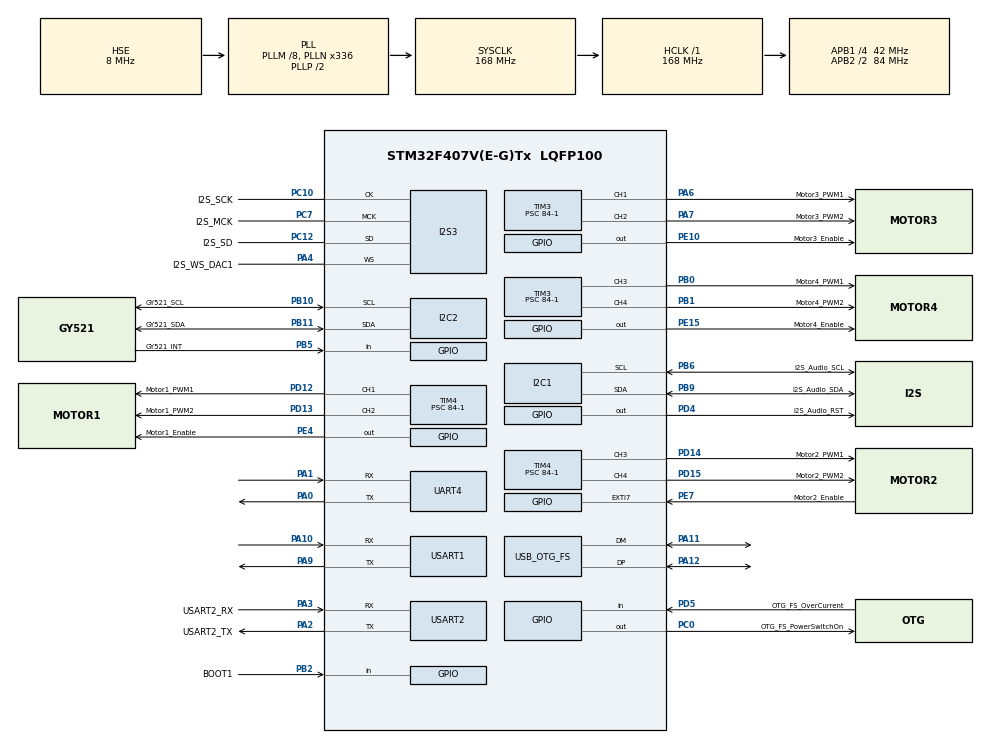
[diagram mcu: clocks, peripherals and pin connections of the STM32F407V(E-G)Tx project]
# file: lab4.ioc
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I2C2.I2C_Mode=I2C_Fast
I2S3.AudioFreq-Half_Duplex_Master=I2S_AUDIOFREQ_96K
I2S3.ErrorAudioFreq=-2.34 %
I2S3.ErrorAudioFreq-Half_Duplex_Master=0.8 %
I2S3.FullDuplexMode=I2S_FULLDUPLEXMODE_DISABLE
I2S3.Instance=SPI$Index
I2S3.RealAudioFreq=93.75 KHz
I2S3.RealAudioFreq-Half_Duplex_Master=96.774 KHz
I2S3.VirtualMode=I2S_MODE_MASTER
Mcu.Family=STM32F4
Mcu.Name=STM32F407V(E-G)Tx
Mcu.Package=LQFP100
NVIC.OTG_FS_IRQn=true\:0\:0\:false\:false\:true\:false\:true\:true
NVIC.PriorityGroup=NVIC_PRIORITYGROUP_0
PA0-WKUP.Mode=Asynchronous
PA0-WKUP.Signal=UART4_TX
PA1.Mode=Asynchronous
PA1.Signal=UART4_RX
PA10.Mode=Asynchronous
PA10.Signal=USART1_RX
PA11.Mode=Device_Only
PA11.Signal=USB_OTG_FS_DM
PA12.Mode=Device_Only
PA12.Signal=USB_OTG_FS_DP
PA13.GPIO_Label=SWDIO
PA13.Mode=Serial_Wire
PA13.Signal=SYS_JTMS-SWDIO
PA14.GPIO_Label=SWCLK
PA14.Mode=Serial_Wire
PA14.Signal=SYS_JTCK-SWCLK
PA2.GPIO_Label=USART2_TX
PA2.Mode=Asynchronous
PA2.Signal=USART2_TX
PA3.GPIO_Label=USART2_RX
PA3.Mode=Asynchronous
PA3.Signal=USART2_RX
PA4.GPIO_Label=I2S_WS_DAC1
PA4.GPIO_Mode=GPIO_MODE_AF_PP
PA4.GPIO_PuPd=GPIO_NOPULL
PA4.GPIO_Speed=GPIO_SPEED_FREQ_LOW
PA4.Mode=Half_Duplex_Master
PA4.Signal=I2S3_WS
PA6.GPIO_Label=Motor3_PWM1
PA6.Signal=S_TIM3_CH1
PA7.GPIO_Label=Motor3_PWM2
PA7.Signal=S_TIM3_CH2
PA9.Mode=Asynchronous
PA9.Signal=USART1_TX
PB0.GPIO_Label=Motor4_PWM1
PB0.Signal=S_TIM3_CH3
PB1.GPIO_Label=Motor4_PWM2
PB1.Signal=S_TIM3_CH4
PB10.GPIO_Label=GY521_SCL
PB10.Mode=I2C
PB10.Signal=I2C2_SCL
PB11.GPIO_Label=GY521_SDA
PB11.Mode=I2C
PB11.Signal=I2C2_SDA
PB2.GPIO_Label=BOOT1
PB2.GPIO_Mode=GPIO_MODE_INPUT
PB2.GPIO_PuPd=GPIO_NOPULL
PB2.Signal=GPIO_Input
PB5.GPIO_Label=GY521_INT
PB5.Signal=GPIO_Input
PB6.GPIO_Label=I2S_Audio_SCL
PB6.GPIO_Mode=GPIO_MODE_AF_OD
PB6.GPIO_Pu=GPIO_PULLUP
PB6.GPIO_PuPd=GPIO_NOPULL
PB6.GPIO_Speed=GPIO_SPEED_FREQ_LOW
PB6.Mode=I2C
PB6.Signal=I2C1_SCL
PB9.GPIO_Label=I2S_Audio_SDA
PB9.GPIO_Mode=GPIO_MODE_AF_OD
PB9.GPIO_Pu=GPIO_PULLUP
PB9.GPIO_PuPd=GPIO_NOPULL
PB9.GPIO_Speed=GPIO_SPEED_FREQ_LOW
PB9.Mode=I2C
PB9.Signal=I2C1_SDA
PC0.GPIO_Label=OTG_FS_PowerSwitchOn
PC0.GPIO_PuPd=GPIO_NOPULL
PC0.GPIO_Speed=GPIO_SPEED_FREQ_LOW
PC0.PinState=GPIO_PIN_SET
PC0.Signal=GPIO_Output
PC10.GPIO_Label=I2S_SCK
PC10.GPIO_Mode=GPIO_MODE_AF_PP
PC10.GPIO_PuPd=GPIO_NOPULL
PC10.GPIO_Speed=GPIO_SPEED_FREQ_LOW
PC10.Mode=Half_Duplex_Master
PC10.Signal=I2S3_CK
PC12.GPIO_Label=I2S_SD
PC12.GPIO_Mode=GPIO_MODE_AF_PP
PC12.GPIO_PuPd=GPIO_NOPULL
PC12.GPIO_Speed=GPIO_SPEED_FREQ_LOW
PC12.Mode=Half_Duplex_Master
PC12.Signal=I2S3_SD
PC14-OSC32_IN.GPIO_Label=PC14-OSC32_IN
PC14-OSC32_IN.Mode=LSE-External-Oscillator
PC14-OSC32_IN.Signal=RCC_OSC32_IN
PC15-OSC32_OUT.GPIO_Label=PC15-OSC32_OUT
PC15-OSC32_OUT.Mode=LSE-External-Oscillator
PC15-OSC32_OUT.Signal=RCC_OSC32_OUT
PC7.GPIO_Label=I2S_MCK
PC7.GPIO_Mode=GPIO_MODE_AF_PP
PC7.GPIO_PuPd=GPIO_NOPULL
PC7.GPIO_Speed=GPIO_SPEED_FREQ_LOW
PC7.Mode=Master_Clock_Activated
PC7.Signal=I2S3_MCK
PD12.GPIO_Label=Motor1_PWM1
PD12.Signal=S_TIM4_CH1
PD13.GPIO_Label=Motor1_PWM2
PD13.Signal=S_TIM4_CH2
PD14.GPIO_Label=Motor2_PWM1
PD14.Signal=S_TIM4_CH3
PD15.GPIO_Label=Motor2_PWM2
PD15.Signal=S_TIM4_CH4
PD4.GPIO_Label=I2S_Audio_RST
PD4.GPIO_PuPd=GPIO_NOPULL
PD4.GPIO_Speed=GPIO_SPEED_FREQ_LOW
PD4.Signal=GPIO_Output
PD5.GPIO_Label=OTG_FS_OverCurrent
PD5.GPIO_Mode=GPIO_MODE_INPUT
PD5.GPIO_PuPd=GPIO_NOPULL
PD5.Signal=GPIO_Input
PE10.GPIO_Label=Motor3_Enable
PE10.Signal=GPIO_Output
PE15.GPIO_Label=Motor4_Enable
PE15.Signal=GPIO_Output
PE4.GPIO_Label=Motor1_Enable
PE4.Signal=GPIO_Output
PE7.GPIO_Label=Motor2_Enable
PE7.Signal=GPXTI7
PH0-OSC_IN.GPIO_Label=PH0-OSC_IN
PH0-OSC_IN.Mode=HSE-External-Oscillator
PH0-OSC_IN.Signal=RCC_OSC_IN
PH1-OSC_OUT.GPIO_Label=PH1-OSC_OUT
PH1-OSC_OUT.Mode=HSE-External-Oscillator
PH1-OSC_OUT.Signal=RCC_OSC_OUT
ProjectManager.HeapSize=0x200
ProjectManager.StackSize=0x400
ProjectManager.TargetToolchain=STM32CubeIDE
RCC.48MHZClocksFreq_Value=48000000
RCC.AHBFreq_Value=168000000
RCC.APB1CLKDivider=RCC_HCLK_DIV4
RCC.APB1Freq_Value=42000000
RCC.APB1TimFreq_Value=84000000
RCC.APB2CLKDivider=RCC_HCLK_DIV2
RCC.APB2Freq_Value=84000000
RCC.APB2TimFreq_Value=168000000
RCC.CortexFreq_Value=168000000
RCC.HCLKFreq_Value=168000000
RCC.HSE_VALUE=8000000
RCC.HSI_VALUE=16000000
RCC.PLLM=8
RCC.PLLN=336
RCC.PLLQ=7
RCC.SYSCLKFreq_VALUE=168000000
RCC.SYSCLKSource=RCC_SYSCLKSOURCE_PLLCLK
RCC.VCOOutputFreq_Value=336000000
SH.S_TIM3_CH1.0=TIM3_CH1,PWM Generation1 CH1
SH.S_TIM3_CH2.0=TIM3_CH2,PWM Generation2 CH2
SH.S_TIM3_CH3.0=TIM3_CH3,PWM Generation3 CH3
SH.S_TIM3_CH4.0=TIM3_CH4,PWM Generation4 CH4
SH.S_TIM4_CH1.0=TIM4_CH1,PWM Generation1 CH1
SH.S_TIM4_CH2.0=TIM4_CH2,PWM Generation2 CH2
SH.S_TIM4_CH3.0=TIM4_CH3,PWM Generation3 CH3
SH.S_TIM4_CH4.0=TIM4_CH4,PWM Generation4 CH4
TIM3.Channel-PWM\ Generation1\ CH1=TIM_CHANNEL_1
TIM3.Channel-PWM\ Generation2\ CH2=TIM_CHANNEL_2
TIM3.Channel-PWM\ Generation3\ CH3=TIM_CHANNEL_3
TIM3.Channel-PWM\ Generation4\ CH4=TIM_CHANNEL_4
TIM3.Period=100-1
TIM3.Prescaler=84-1
TIM4.Channel-PWM\ Generation1\ CH1=TIM_CHANNEL_1
TIM4.Channel-PWM\ Generation2\ CH2=TIM_CHANNEL_2
TIM4.Channel-PWM\ Generation3\ CH3=TIM_CHANNEL_3
TIM4.Channel-PWM\ Generation4\ CH4=TIM_CHANNEL_4
TIM4.Period=100-1
TIM4.Prescaler=84-1
UART4.VirtualMode=Asynchronous
USART1.VirtualMode=VM_ASYNC
USART2.VirtualMode=VM_ASYNC
USB_DEVICE.CLASS_NAME_FS=CDC
USB_DEVICE.VirtualMode-CDC_FS=Cdc
USB_DEVICE.VirtualModeFS=Cdc_FS
USB_OTG_FS.VirtualMode=Device_Only
VP_TIM3_VS_ClockSourceINT.Mode=Internal
VP_TIM4_VS_ClockSourceINT.Mode=Internal
VP_USB_DEVICE_VS_USB_DEVICE_CDC_FS.Mode=CDC_FS
board=STM32F407G-DISC1

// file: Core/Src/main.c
/* USER CODE BEGIN Header */
/**
  ******************************************************************************
  * @file           : main.c
  * @brief          : Main program body
  ******************************************************************************
  * @attention
  *
  * Copyright (c) 2023 STMicroelectronics.
  * All rights reserved.
  *
  * This software is licensed under terms that can be found in the LICENSE file
  * in the root directory of this software component.
  * If no LICENSE file comes with this software, it is provided AS-IS.
  *
  ******************************************************************************
  */
/* USER CODE END Header */
#include "main.h"
#include "usb_device.h"

/* USER CODE BEGIN Includes */
#define LAB4_2 1

#if LAB4_1
	#include "ADXL345.h"
	#include "MC5883L.h"
	#include "BMP085.h"
#endif

#if LAB4_2
	#include "MPU6050.h"
	#include "CalculateAngle.h"
	#include <stdio.h>
	#include <string.h>
	#include "usbd_cdc_if.h"
#endif
/* USER CODE END Includes */

I2C_HandleTypeDef hi2c1;
I2C_HandleTypeDef hi2c2;

I2S_HandleTypeDef hi2s3;

TIM_HandleTypeDef htim3;
TIM_HandleTypeDef htim4;

UART_HandleTypeDef huart4;
UART_HandleTypeDef huart1;
UART_HandleTypeDef huart2;

/* USER CODE BEGIN PV */

#if LAB4_1
	int16_t ADXL345_x,ADXL345_y,ADXL345_z;
	float ADXL345_xg, ADXL345_yg, ADXL345_zg;

	int16_t MC5883L_x, MC5883L_y, MC5883L_z;

	uint8_t ADXL345_chipid = 0;
	uint8_t ADXL345_data_rec[6];

	uint8_t MC5883L_chipid = 0;
	uint8_t MC5883L_data_rec[6];

	float BMP085_Temperature;
	int32_t BMP085_Pressure;
#endif

#if LAB4_2

//MPU6050_t MPU6050;

#endif
/* USER CODE END PV */

void SystemClock_Config(void);
static void MX_GPIO_Init(void);
static void MX_I2C1_Init(void);
static void MX_I2S3_Init(void);
static void MX_I2C2_Init(void);
static void MX_TIM3_Init(void);
static void MX_TIM4_Init(void);
static void MX_UART4_Init(void);
static void MX_USART1_UART_Init(void);
static void MX_USART2_UART_Init(void);

/* USER CODE BEGIN 0 */
#define MPU6050_ADDR 0xD0

#define SMPLRT_DIV_REG 0x19
#define GYRO_CONFIG_REG 0x1B
#define ACCEL_CONFIG_REG 0x1C
#define ACCEL_XOUT_H_REG 0x3B
#define TEMP_OUT_H_REG 0x41
#define GYRO_XOUT_H_REG 0x43
#define PWR_MGMT_1_REG 0x6B
#define WHO_AM_I_REG 0x75

int16_t Accel_X_RAW = 0;
int16_t Accel_Y_RAW = 0;
int16_t Accel_Z_RAW = 0;

int16_t Gyro_X_RAW = 0;
int16_t Gyro_Y_RAW = 0;
int16_t Gyro_Z_RAW = 0;

float Ax, Ay, Az, Gx, Gy, Gz;

/* USER CODE END 0 */

int main(void)
{

  /* MCU Configuration--------------------------------------------------------*/

  /* Reset of all peripherals, Initializes the Flash interface and the Systick. */
  HAL_Init();

  /* Configure the system clock */
  SystemClock_Config();

  /* Initialize all configured peripherals */
  MX_GPIO_Init();
  MX_I2C1_Init();
  MX_I2S3_Init();
  MX_I2C2_Init();
  MX_TIM3_Init();
  MX_TIM4_Init();
  MX_UART4_Init();
  MX_USART1_UART_Init();
  MX_USART2_UART_Init();
  MX_USB_DEVICE_Init();
  /* USER CODE BEGIN 2 */
#if LAB4_1
  ADXL345_Init();
  MC5883L_Init();
  BMP085_Init(BMP085_STANDARD);
#endif

#if LAB4_2
  //while (MPU6050_Init(&hi2c2) == 1);
  //MPU6050_Init();
  //HAL_Delay(1000);
  MPU6050_Initialization();
#endif
  /* USER CODE END 2 */

  /* Infinite loop */
  while (1)
  {

    /* USER CODE BEGIN 3 */

	/* Read ADXL345 Accelerometer Values */
#if LAB4_1
	ADXL345_Read_Values(0x32);
	ADXL345_x = ((ADXL345_data_rec[1]<<8) | (ADXL345_data_rec[0]));
	ADXL345_y = ((ADXL345_data_rec[3]<<8) | (ADXL345_data_rec[2]));
	ADXL345_z = ((ADXL345_data_rec[5]<<8) | (ADXL345_data_rec[4]));

	/*
	ADXL345_xg = ADXL345_x * .0078;
	ADXL345_yg = ADXL345_y * .0078;
	ADXL345_zg = ADXL345_z * .0078;
	*/

	/* Read MC5883L Magnetometer Values */
	MC5883L_Read_Values(0x06);
	if(0x01 == (MC5883L_data_rec[0] & 0x01))
	{
		MC5883L_Read_Values(0x00);
		MC5883L_x = ((MC5883L_data_rec[1]<<8) | (MC5883L_data_rec[0]));
		MC5883L_y = ((MC5883L_data_rec[3]<<8) | (MC5883L_data_rec[2]));
		MC5883L_z = ((MC5883L_data_rec[5]<<8) | (MC5883L_data_rec[4]));
	}

	/* Read BMP085 Magnetometer Values */
	BMP085_Temperature = BMP085_ReadTemperature();
	BMP085_Pressure = BMP085_ReadPressure();
#endif
#if LAB4_2
	/*
	  MPU6050_Read_All(&hi2c2, &MPU6050);
	  printf("%.2f, %.2f, %.2f\n", MPU6050.Gx, MPU6050.Gy, MPU6050.Gz);
	  //CDC_Transmit_FS(usb_tx_buffer, strlen((char*)usb_tx_buffer));
	  HAL_Delay(100);

	  MPU6050_Read_Accel();
	  MPU6050_Read_Gyro();
	  printf("%.2f, %.2f, %.2f\n", Gx, Gy, Gz);
	  HAL_Delay(250);
	  */
		if(MPU6050_DataReady() == 1)
		{
			MPU6050_ProcessData(&MPU6050);
			CalculateCompliFilter(&Angle, &MPU6050);
			printf("%.2f, %.2f, %.2f\n", Angle.ComFilt_roll, Angle.ComFilt_pitch, Angle.ComFilt_yaw);
		}
#endif
  }
  /* USER CODE END 3 */
}

void SystemClock_Config(void)
{
  RCC_OscInitTypeDef RCC_OscInitStruct = {0};
  RCC_ClkInitTypeDef RCC_ClkInitStruct = {0};

  /** Configure the main internal regulator output voltage
  */
  __HAL_RCC_PWR_CLK_ENABLE();
  __HAL_PWR_VOLTAGESCALING_CONFIG(PWR_REGULATOR_VOLTAGE_SCALE1);

  /** Initializes the RCC Oscillators according to the specified parameters
  * in the RCC_OscInitTypeDef structure.
  */
  RCC_OscInitStruct.OscillatorType = RCC_OSCILLATORTYPE_HSE;
  RCC_OscInitStruct.HSEState = RCC_HSE_ON;
  RCC_OscInitStruct.PLL.PLLState = RCC_PLL_ON;
  RCC_OscInitStruct.PLL.PLLSource = RCC_PLLSOURCE_HSE;
  RCC_OscInitStruct.PLL.PLLM = 8;
  RCC_OscInitStruct.PLL.PLLN = 336;
  RCC_OscInitStruct.PLL.PLLP = RCC_PLLP_DIV2;
  RCC_OscInitStruct.PLL.PLLQ = 7;
  if (HAL_RCC_OscConfig(&RCC_OscInitStruct) != HAL_OK)
  {
    Error_Handler();
  }

  /** Initializes the CPU, AHB and APB buses clocks
  */
  RCC_ClkInitStruct.ClockType = RCC_CLOCKTYPE_HCLK|RCC_CLOCKTYPE_SYSCLK
                              |RCC_CLOCKTYPE_PCLK1|RCC_CLOCKTYPE_PCLK2;
  RCC_ClkInitStruct.SYSCLKSource = RCC_SYSCLKSOURCE_PLLCLK;
  RCC_ClkInitStruct.AHBCLKDivider = RCC_SYSCLK_DIV1;
  RCC_ClkInitStruct.APB1CLKDivider = RCC_HCLK_DIV4;
  RCC_ClkInitStruct.APB2CLKDivider = RCC_HCLK_DIV2;

  if (HAL_RCC_ClockConfig(&RCC_ClkInitStruct, FLASH_LATENCY_5) != HAL_OK)
  {
    Error_Handler();
  }
}

static void MX_I2C1_Init(void)
{

  hi2c1.Instance = I2C1;
  hi2c1.Init.ClockSpeed = 100000;
  hi2c1.Init.DutyCycle = I2C_DUTYCYCLE_2;
  hi2c1.Init.OwnAddress1 = 0;
  hi2c1.Init.AddressingMode = I2C_ADDRESSINGMODE_7BIT;
  hi2c1.Init.DualAddressMode = I2C_DUALADDRESS_DISABLE;
  hi2c1.Init.OwnAddress2 = 0;
  hi2c1.Init.GeneralCallMode = I2C_GENERALCALL_DISABLE;
  hi2c1.Init.NoStretchMode = I2C_NOSTRETCH_DISABLE;
  if (HAL_I2C_Init(&hi2c1) != HAL_OK)
  {
    Error_Handler();
  }

}

static void MX_I2C2_Init(void)
{

  hi2c2.Instance = I2C2;
  hi2c2.Init.ClockSpeed = 400000;
  hi2c2.Init.DutyCycle = I2C_DUTYCYCLE_2;
  hi2c2.Init.OwnAddress1 = 0;
  hi2c2.Init.AddressingMode = I2C_ADDRESSINGMODE_7BIT;
  hi2c2.Init.DualAddressMode = I2C_DUALADDRESS_DISABLE;
  hi2c2.Init.OwnAddress2 = 0;
  hi2c2.Init.GeneralCallMode = I2C_GENERALCALL_DISABLE;
  hi2c2.Init.NoStretchMode = I2C_NOSTRETCH_DISABLE;
  if (HAL_I2C_Init(&hi2c2) != HAL_OK)
  {
    Error_Handler();
  }

}

static void MX_I2S3_Init(void)
{

  hi2s3.Instance = SPI3;
  hi2s3.Init.Mode = I2S_MODE_MASTER_TX;
  hi2s3.Init.Standard = I2S_STANDARD_PHILIPS;
  hi2s3.Init.DataFormat = I2S_DATAFORMAT_16B;
  hi2s3.Init.MCLKOutput = I2S_MCLKOUTPUT_ENABLE;
  hi2s3.Init.AudioFreq = I2S_AUDIOFREQ_96K;
  hi2s3.Init.CPOL = I2S_CPOL_LOW;
  hi2s3.Init.ClockSource = I2S_CLOCK_PLL;
  hi2s3.Init.FullDuplexMode = I2S_FULLDUPLEXMODE_DISABLE;
  if (HAL_I2S_Init(&hi2s3) != HAL_OK)
  {
    Error_Handler();
  }

}

static void MX_TIM3_Init(void)
{

  TIM_ClockConfigTypeDef sClockSourceConfig = {0};
  TIM_MasterConfigTypeDef sMasterConfig = {0};
  TIM_OC_InitTypeDef sConfigOC = {0};

  htim3.Instance = TIM3;
  htim3.Init.Prescaler = 84-1;
  htim3.Init.CounterMode = TIM_COUNTERMODE_UP;
  htim3.Init.Period = 100-1;
  htim3.Init.ClockDivision = TIM_CLOCKDIVISION_DIV1;
  htim3.Init.AutoReloadPreload = TIM_AUTORELOAD_PRELOAD_DISABLE;
  if (HAL_TIM_Base_Init(&htim3) != HAL_OK)
  {
    Error_Handler();
  }
  sClockSourceConfig.ClockSource = TIM_CLOCKSOURCE_INTERNAL;
  if (HAL_TIM_ConfigClockSource(&htim3, &sClockSourceConfig) != HAL_OK)
  {
    Error_Handler();
  }
  if (HAL_TIM_PWM_Init(&htim3) != HAL_OK)
  {
    Error_Handler();
  }
  sMasterConfig.MasterOutputTrigger = TIM_TRGO_RESET;
  sMasterConfig.MasterSlaveMode = TIM_MASTERSLAVEMODE_DISABLE;
  if (HAL_TIMEx_MasterConfigSynchronization(&htim3, &sMasterConfig) != HAL_OK)
  {
    Error_Handler();
  }
  sConfigOC.OCMode = TIM_OCMODE_PWM1;
  sConfigOC.Pulse = 0;
  sConfigOC.OCPolarity = TIM_OCPOLARITY_HIGH;
  sConfigOC.OCFastMode = TIM_OCFAST_DISABLE;
  if (HAL_TIM_PWM_ConfigChannel(&htim3, &sConfigOC, TIM_CHANNEL_1) != HAL_OK)
  {
    Error_Handler();
  }
  if (HAL_TIM_PWM_ConfigChannel(&htim3, &sConfigOC, TIM_CHANNEL_2) != HAL_OK)
  {
    Error_Handler();
  }
  if (HAL_TIM_PWM_ConfigChannel(&htim3, &sConfigOC, TIM_CHANNEL_3) != HAL_OK)
  {
    Error_Handler();
  }
  if (HAL_TIM_PWM_ConfigChannel(&htim3, &sConfigOC, TIM_CHANNEL_4) != HAL_OK)
  {
    Error_Handler();
  }
  HAL_TIM_MspPostInit(&htim3);

}

static void MX_TIM4_Init(void)
{

  TIM_ClockConfigTypeDef sClockSourceConfig = {0};
  TIM_MasterConfigTypeDef sMasterConfig = {0};
  TIM_OC_InitTypeDef sConfigOC = {0};

  htim4.Instance = TIM4;
  htim4.Init.Prescaler = 84-1;
  htim4.Init.CounterMode = TIM_COUNTERMODE_UP;
  htim4.Init.Period = 100-1;
  htim4.Init.ClockDivision = TIM_CLOCKDIVISION_DIV1;
  htim4.Init.AutoReloadPreload = TIM_AUTORELOAD_PRELOAD_DISABLE;
  if (HAL_TIM_Base_Init(&htim4) != HAL_OK)
  {
    Error_Handler();
  }
  sClockSourceConfig.ClockSource = TIM_CLOCKSOURCE_INTERNAL;
  if (HAL_TIM_ConfigClockSource(&htim4, &sClockSourceConfig) != HAL_OK)
  {
    Error_Handler();
  }
  if (HAL_TIM_PWM_Init(&htim4) != HAL_OK)
  {
    Error_Handler();
  }
  sMasterConfig.MasterOutputTrigger = TIM_TRGO_RESET;
  sMasterConfig.MasterSlaveMode = TIM_MASTERSLAVEMODE_DISABLE;
  if (HAL_TIMEx_MasterConfigSynchronization(&htim4, &sMasterConfig) != HAL_OK)
  {
    Error_Handler();
  }
  sConfigOC.OCMode = TIM_OCMODE_PWM1;
  sConfigOC.Pulse = 0;
  sConfigOC.OCPolarity = TIM_OCPOLARITY_HIGH;
  sConfigOC.OCFastMode = TIM_OCFAST_DISABLE;
  if (HAL_TIM_PWM_ConfigChannel(&htim4, &sConfigOC, TIM_CHANNEL_1) != HAL_OK)
  {
    Error_Handler();
  }
  if (HAL_TIM_PWM_ConfigChannel(&htim4, &sConfigOC, TIM_CHANNEL_2) != HAL_OK)
  {
    Error_Handler();
  }
  if (HAL_TIM_PWM_ConfigChannel(&htim4, &sConfigOC, TIM_CHANNEL_3) != HAL_OK)
  {
    Error_Handler();
  }
  if (HAL_TIM_PWM_ConfigChannel(&htim4, &sConfigOC, TIM_CHANNEL_4) != HAL_OK)
  {
    Error_Handler();
  }
  HAL_TIM_MspPostInit(&htim4);

}

static void MX_UART4_Init(void)
{

  huart4.Instance = UART4;
  huart4.Init.BaudRate = 115200;
  huart4.Init.WordLength = UART_WORDLENGTH_8B;
  huart4.Init.StopBits = UART_STOPBITS_1;
  huart4.Init.Parity = UART_PARITY_NONE;
  huart4.Init.Mode = UART_MODE_TX_RX;
  huart4.Init.HwFlowCtl = UART_HWCONTROL_NONE;
  huart4.Init.OverSampling = UART_OVERSAMPLING_16;
  if (HAL_UART_Init(&huart4) != HAL_OK)
  {
    Error_Handler();
  }

}

static void MX_USART1_UART_Init(void)
{

  huart1.Instance = USART1;
  huart1.Init.BaudRate = 115200;
  huart1.Init.WordLength = UART_WORDLENGTH_8B;
  huart1.Init.StopBits = UART_STOPBITS_1;
  huart1.Init.Parity = UART_PARITY_NONE;
  huart1.Init.Mode = UART_MODE_TX_RX;
  huart1.Init.HwFlowCtl = UART_HWCONTROL_NONE;
  huart1.Init.OverSampling = UART_OVERSAMPLING_16;
  if (HAL_UART_Init(&huart1) != HAL_OK)
  {
    Error_Handler();
  }

}

static void MX_USART2_UART_Init(void)
{

  huart2.Instance = USART2;
  huart2.Init.BaudRate = 115200;
  huart2.Init.WordLength = UART_WORDLENGTH_8B;
  huart2.Init.StopBits = UART_STOPBITS_1;
  huart2.Init.Parity = UART_PARITY_NONE;
  huart2.Init.Mode = UART_MODE_TX_RX;
  huart2.Init.HwFlowCtl = UART_HWCONTROL_NONE;
  huart2.Init.OverSampling = UART_OVERSAMPLING_16;
  if (HAL_UART_Init(&huart2) != HAL_OK)
  {
    Error_Handler();
  }

}

static void MX_GPIO_Init(void)
{
  GPIO_InitTypeDef GPIO_InitStruct = {0};

  /* GPIO Ports Clock Enable */
  __HAL_RCC_GPIOE_CLK_ENABLE();
  __HAL_RCC_GPIOC_CLK_ENABLE();
  __HAL_RCC_GPIOH_CLK_ENABLE();
  __HAL_RCC_GPIOA_CLK_ENABLE();
  __HAL_RCC_GPIOB_CLK_ENABLE();
  __HAL_RCC_GPIOD_CLK_ENABLE();

  /*Configure GPIO pin Output Level */
  HAL_GPIO_WritePin(GPIOE, Motor1_Enable_Pin|Motor3_Enable_Pin|Motor4_Enable_Pin, GPIO_PIN_RESET);

  /*Configure GPIO pin Output Level */
  HAL_GPIO_WritePin(OTG_FS_PowerSwitchOn_GPIO_Port, OTG_FS_PowerSwitchOn_Pin, GPIO_PIN_SET);

  /*Configure GPIO pin Output Level */
  HAL_GPIO_WritePin(I2S_Audio_RST_GPIO_Port, I2S_Audio_RST_Pin, GPIO_PIN_RESET);

  /*Configure GPIO pins : Motor1_Enable_Pin Motor3_Enable_Pin Motor4_Enable_Pin */
  GPIO_InitStruct.Pin = Motor1_Enable_Pin|Motor3_Enable_Pin|Motor4_Enable_Pin;
  GPIO_InitStruct.Mode = GPIO_MODE_OUTPUT_PP;
  GPIO_InitStruct.Pull = GPIO_NOPULL;
  GPIO_InitStruct.Speed = GPIO_SPEED_FREQ_LOW;
  HAL_GPIO_Init(GPIOE, &GPIO_InitStruct);

  /*Configure GPIO pin : OTG_FS_PowerSwitchOn_Pin */
  GPIO_InitStruct.Pin = OTG_FS_PowerSwitchOn_Pin;
  GPIO_InitStruct.Mode = GPIO_MODE_OUTPUT_PP;
  GPIO_InitStruct.Pull = GPIO_NOPULL;
  GPIO_InitStruct.Speed = GPIO_SPEED_FREQ_LOW;
  HAL_GPIO_Init(OTG_FS_PowerSwitchOn_GPIO_Port, &GPIO_InitStruct);

  /*Configure GPIO pins : BOOT1_Pin GY521_INT_Pin */
  GPIO_InitStruct.Pin = BOOT1_Pin|GY521_INT_Pin;
  GPIO_InitStruct.Mode = GPIO_MODE_INPUT;
  GPIO_InitStruct.Pull = GPIO_NOPULL;
  HAL_GPIO_Init(GPIOB, &GPIO_InitStruct);

  /*Configure GPIO pin : Motor2_Enable_Pin */
  GPIO_InitStruct.Pin = Motor2_Enable_Pin;
  GPIO_InitStruct.Mode = GPIO_MODE_IT_RISING;
  GPIO_InitStruct.Pull = GPIO_NOPULL;
  HAL_GPIO_Init(Motor2_Enable_GPIO_Port, &GPIO_InitStruct);

  /*Configure GPIO pin : I2S_Audio_RST_Pin */
  GPIO_InitStruct.Pin = I2S_Audio_RST_Pin;
  GPIO_InitStruct.Mode = GPIO_MODE_OUTPUT_PP;
  GPIO_InitStruct.Pull = GPIO_NOPULL;
  GPIO_InitStruct.Speed = GPIO_SPEED_FREQ_LOW;
  HAL_GPIO_Init(I2S_Audio_RST_GPIO_Port, &GPIO_InitStruct);

  /*Configure GPIO pin : OTG_FS_OverCurrent_Pin */
  GPIO_InitStruct.Pin = OTG_FS_OverCurrent_Pin;
  GPIO_InitStruct.Mode = GPIO_MODE_INPUT;
  GPIO_InitStruct.Pull = GPIO_NOPULL;
  HAL_GPIO_Init(OTG_FS_OverCurrent_GPIO_Port, &GPIO_InitStruct);

}

/* USER CODE BEGIN 4 */
int _write(int file, char *ptr, int len)
{
    static uint8_t rc = USBD_OK;

    do {
        rc = CDC_Transmit_FS(ptr, len);
    } while (USBD_BUSY == rc);

    if (USBD_FAIL == rc) {
        /// NOTE: Should never reach here.
        /// TODO: Handle this error.
        return 0;
    }
    return len;
}
/* USER CODE END 4 */

void Error_Handler(void)
{
  __disable_irq();
  while (1)
  {
  }
}
